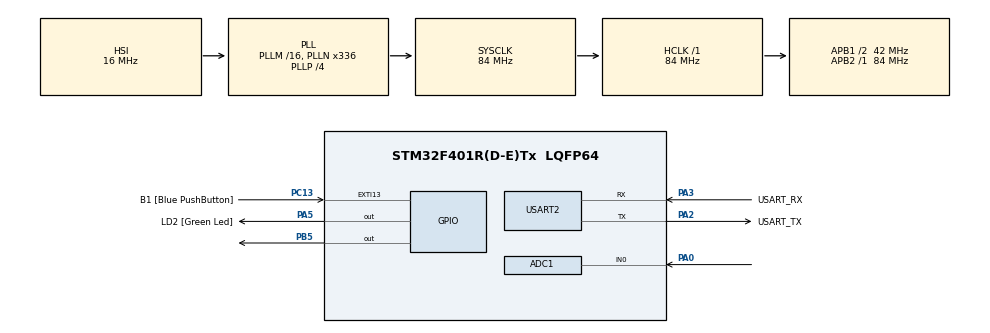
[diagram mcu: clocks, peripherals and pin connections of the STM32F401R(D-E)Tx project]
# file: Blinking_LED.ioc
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ADC1.Channel-0\#ChannelRegularConversion=ADC_CHANNEL_0
ADC1.ContinuousConvMode=ENABLE
ADC1.NbrOfConversionFlag=1
ADC1.Rank-0\#ChannelRegularConversion=1
ADC1.SamplingTime-0\#ChannelRegularConversion=ADC_SAMPLETIME_3CYCLES
ADC1.master=1
Mcu.Family=STM32F4
Mcu.Name=STM32F401R(D-E)Tx
Mcu.Package=LQFP64
NVIC.PriorityGroup=NVIC_PRIORITYGROUP_4
PA0-WKUP.Signal=ADCx_IN0
PA13.GPIO_Label=TMS
PA13.Mode=Trace_Asynchronous_SW
PA13.Signal=SYS_JTMS-SWDIO
PA14.GPIO_Label=TCK
PA14.Mode=Trace_Asynchronous_SW
PA14.Signal=SYS_JTCK-SWCLK
PA2.GPIO_Label=USART_TX
PA2.GPIO_Mode=GPIO_MODE_AF_PP
PA2.GPIO_PuPd=GPIO_NOPULL
PA2.GPIO_Speed=GPIO_SPEED_FREQ_LOW
PA2.Mode=Asynchronous
PA2.Signal=USART2_TX
PA3.GPIO_Label=USART_RX
PA3.GPIO_Mode=GPIO_MODE_AF_PP
PA3.GPIO_PuPd=GPIO_NOPULL
PA3.GPIO_Speed=GPIO_SPEED_FREQ_LOW
PA3.Mode=Asynchronous
PA3.Signal=USART2_RX
PA5.GPIO_Label=LD2 [Green Led]
PA5.GPIO_Mode=GPIO_MODE_OUTPUT_PP
PA5.GPIO_PuPd=GPIO_NOPULL
PA5.GPIO_Speed=GPIO_SPEED_FREQ_LOW
PA5.Signal=GPIO_Output
PB3.GPIO_Label=SWO
PB3.Mode=Trace_Asynchronous_SW
PB3.Signal=SYS_JTDO-SWO
PB5.Signal=GPIO_Output
PC13-ANTI_TAMP.GPIO_Label=B1 [Blue PushButton]
PC13-ANTI_TAMP.GPIO_ModeDefaultEXTI=GPIO_MODE_IT_FALLING
PC13-ANTI_TAMP.GPIO_PuPd=GPIO_NOPULL
PC13-ANTI_TAMP.Signal=GPXTI13
PC14-OSC32_IN.Mode=LSE-External-Oscillator
PC14-OSC32_IN.Signal=RCC_OSC32_IN
PC15-OSC32_OUT.Mode=LSE-External-Oscillator
PC15-OSC32_OUT.Signal=RCC_OSC32_OUT
PH0\ -\ OSC_IN.Mode=HSE-External-Clock-Source
PH0\ -\ OSC_IN.Signal=RCC_OSC_IN
PH1\ -\ OSC_OUT.Mode=HSE-External-Clock-Source
PH1\ -\ OSC_OUT.Signal=RCC_OSC_OUT
ProjectManager.HeapSize=0x200
ProjectManager.StackSize=0x400
ProjectManager.TargetToolchain=STM32CubeIDE
RCC.48MHZClocksFreq_Value=48000000
RCC.AHBFreq_Value=84000000
RCC.APB1CLKDivider=RCC_HCLK_DIV2
RCC.APB1Freq_Value=42000000
RCC.APB1TimFreq_Value=84000000
RCC.APB2Freq_Value=84000000
RCC.APB2TimFreq_Value=84000000
RCC.CortexFreq_Value=84000000
RCC.HCLKFreq_Value=84000000
RCC.HSE_VALUE=8000000
RCC.HSI_VALUE=16000000
RCC.PLLN=336
RCC.PLLP=RCC_PLLP_DIV4
RCC.PLLQ=7
RCC.SYSCLKFreq_VALUE=84000000
RCC.SYSCLKSource=RCC_SYSCLKSOURCE_PLLCLK
RCC.VCOOutputFreq_Value=336000000
SH.ADCx_IN0.0=ADC1_IN0,IN0
USART2.VirtualMode=VM_ASYNC
board=NUCLEO-F401RE

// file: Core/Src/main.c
/* USER CODE BEGIN Header */
/**
  ******************************************************************************
  * @file           : main.c
  * @brief          : Main program body
  ******************************************************************************
  * @attention
  *
  * Copyright (c) 2026 STMicroelectronics.
  * All rights reserved.
  *
  * This software is licensed under terms that can be found in the LICENSE file
  * in the root directory of this software component.
  * If no LICENSE file comes with this software, it is provided AS-IS.
  *
  ******************************************************************************
  */
/* USER CODE END Header */
#include "main.h"

/* USER CODE BEGIN Includes */
#include"stdio.h"
#include"string.h"

/* USER CODE END Includes */

ADC_HandleTypeDef hadc1;

UART_HandleTypeDef huart2;

/* USER CODE BEGIN PV */
char msg[100];
uint8_t rx_data;
uint32_t adc_value;
uint32_t voltage;

/* USER CODE END PV */

void SystemClock_Config(void);
static void MX_GPIO_Init(void);
static void MX_USART2_UART_Init(void);
static void MX_ADC1_Init(void);

/* USER CODE BEGIN 0 */
void LED_ON(void){

	if(HAL_UART_Receive(&huart2,&rx_data,1,100)==HAL_OK){
		if(rx_data == 'A'){
			HAL_GPIO_TogglePin(GPIOB,GPIO_PIN_5);
			if(HAL_GPIO_ReadPin(GPIOB,GPIO_PIN_5)== GPIO_PIN_SET){
				sprintf(msg, " LED is ON \r\n");
				HAL_UART_Transmit(&huart2,(uint8_t*)msg,strlen(msg),HAL_MAX_DELAY);
			}
			else{
				sprintf(msg, " LED is OFF \r\n");
				HAL_UART_Transmit(&huart2,(uint8_t*)msg,strlen(msg),HAL_MAX_DELAY);

			}
		}

	}
}
void UART_GPIO_CONTROLLER(void){
	if(HAL_UART_Receive(&huart2,&rx_data,1,100)==HAL_OK){
		if(rx_data == 'A'){
			HAL_GPIO_TogglePin(GPIOB,GPIO_PIN_5);
			sprintf(msg, "LED is Toggled \r\n");
			HAL_UART_Transmit(&huart2,(uint8_t*)msg, strlen(msg), HAL_MAX_DELAY);
		}
		else if(rx_data == '1'){
				HAL_GPIO_WritePin(GPIOB,GPIO_PIN_5,GPIO_PIN_SET);
				sprintf(msg, "LED is Forced On \r\n");
				HAL_UART_Transmit(&huart2,(uint8_t*)msg, strlen(msg), HAL_MAX_DELAY);

		}
		else if(rx_data == '0'){
			HAL_GPIO_WritePin(GPIOB,GPIO_PIN_5,GPIO_PIN_RESET);
			sprintf(msg, "LED is Forced OFF \r\n");
			HAL_UART_Transmit(&huart2,(uint8_t*)msg, strlen(msg), HAL_MAX_DELAY);

		}
		else if(rx_data == 'S'){
			if(HAL_GPIO_ReadPin(GPIOB,GPIO_PIN_5) == GPIO_PIN_SET){
				sprintf(msg,"LED Status : ON \r\n");
			}
			else{
				sprintf(msg,"LED Status : OFF \r\n");
			}
			HAL_UART_Transmit(&huart2,(uint8_t*)msg, strlen(msg), HAL_MAX_DELAY);

		}
		else{
			sprintf(msg, "Unknown Command = %c  \r\n", rx_data);
			HAL_UART_Transmit(&huart2,(uint8_t*)msg, strlen(msg), HAL_MAX_DELAY);

		}

	}
}
void ADC_UART_MONITOR(void){
	if(HAL_ADC_PollForConversion(&hadc1,HAL_MAX_DELAY)==HAL_OK){
		adc_value = HAL_ADC_GetValue(&hadc1);
		voltage = (adc_value * 3300)/4095;
		sprintf(msg, "ADC VALUE: %lu, Voltage : %lu mV \r\n",adc_value,voltage);
		HAL_UART_Transmit(&huart2,(uint8_t*)msg,strlen(msg),HAL_MAX_DELAY);

	}
	HAL_ADC_Stop(&hadc1);

}
/* USER CODE END 0 */

int main(void)
{

  /* MCU Configuration--------------------------------------------------------*/

  /* Reset of all peripherals, Initializes the Flash interface and the Systick. */
  HAL_Init();

  /* Configure the system clock */
  SystemClock_Config();

  /* Initialize all configured peripherals */
  MX_GPIO_Init();
  MX_USART2_UART_Init();
  MX_ADC1_Init();
  /* USER CODE BEGIN 2 */
  HAL_ADC_Start(&hadc1);

  /* USER CODE END 2 */

  /* Infinite loop */
  while (1)
  {
	  ADC_UART_MONITOR();
	  HAL_Delay(500);

  }
}

void SystemClock_Config(void)
{
  RCC_OscInitTypeDef RCC_OscInitStruct = {0};
  RCC_ClkInitTypeDef RCC_ClkInitStruct = {0};

  /** Configure the main internal regulator output voltage
  */
  __HAL_RCC_PWR_CLK_ENABLE();
  __HAL_PWR_VOLTAGESCALING_CONFIG(PWR_REGULATOR_VOLTAGE_SCALE2);

  /** Initializes the RCC Oscillators according to the specified parameters
  * in the RCC_OscInitTypeDef structure.
  */
  RCC_OscInitStruct.OscillatorType = RCC_OSCILLATORTYPE_HSI;
  RCC_OscInitStruct.HSIState = RCC_HSI_ON;
  RCC_OscInitStruct.HSICalibrationValue = RCC_HSICALIBRATION_DEFAULT;
  RCC_OscInitStruct.PLL.PLLState = RCC_PLL_ON;
  RCC_OscInitStruct.PLL.PLLSource = RCC_PLLSOURCE_HSI;
  RCC_OscInitStruct.PLL.PLLM = 16;
  RCC_OscInitStruct.PLL.PLLN = 336;
  RCC_OscInitStruct.PLL.PLLP = RCC_PLLP_DIV4;
  RCC_OscInitStruct.PLL.PLLQ = 7;
  if (HAL_RCC_OscConfig(&RCC_OscInitStruct) != HAL_OK)
  {
    Error_Handler();
  }

  /** Initializes the CPU, AHB and APB buses clocks
  */
  RCC_ClkInitStruct.ClockType = RCC_CLOCKTYPE_HCLK|RCC_CLOCKTYPE_SYSCLK
                              |RCC_CLOCKTYPE_PCLK1|RCC_CLOCKTYPE_PCLK2;
  RCC_ClkInitStruct.SYSCLKSource = RCC_SYSCLKSOURCE_PLLCLK;
  RCC_ClkInitStruct.AHBCLKDivider = RCC_SYSCLK_DIV1;
  RCC_ClkInitStruct.APB1CLKDivider = RCC_HCLK_DIV2;
  RCC_ClkInitStruct.APB2CLKDivider = RCC_HCLK_DIV1;

  if (HAL_RCC_ClockConfig(&RCC_ClkInitStruct, FLASH_LATENCY_2) != HAL_OK)
  {
    Error_Handler();
  }
}

static void MX_ADC1_Init(void)
{

  ADC_ChannelConfTypeDef sConfig = {0};

  /** Configure the global features of the ADC (Clock, Resolution, Data Alignment and number of conversion)
  */
  hadc1.Instance = ADC1;
  hadc1.Init.ClockPrescaler = ADC_CLOCK_SYNC_PCLK_DIV4;
  hadc1.Init.Resolution = ADC_RESOLUTION_12B;
  hadc1.Init.ScanConvMode = DISABLE;
  hadc1.Init.ContinuousConvMode = ENABLE;
  hadc1.Init.DiscontinuousConvMode = DISABLE;
  hadc1.Init.ExternalTrigConvEdge = ADC_EXTERNALTRIGCONVEDGE_NONE;
  hadc1.Init.ExternalTrigConv = ADC_SOFTWARE_START;
  hadc1.Init.DataAlign = ADC_DATAALIGN_RIGHT;
  hadc1.Init.NbrOfConversion = 1;
  hadc1.Init.DMAContinuousRequests = DISABLE;
  hadc1.Init.EOCSelection = ADC_EOC_SINGLE_CONV;
  if (HAL_ADC_Init(&hadc1) != HAL_OK)
  {
    Error_Handler();
  }

  /** Configure for the selected ADC regular channel its corresponding rank in the sequencer and its sample time.
  */
  sConfig.Channel = ADC_CHANNEL_0;
  sConfig.Rank = 1;
  sConfig.SamplingTime = ADC_SAMPLETIME_3CYCLES;
  if (HAL_ADC_ConfigChannel(&hadc1, &sConfig) != HAL_OK)
  {
    Error_Handler();
  }

}

static void MX_USART2_UART_Init(void)
{

  huart2.Instance = USART2;
  huart2.Init.BaudRate = 115200;
  huart2.Init.WordLength = UART_WORDLENGTH_8B;
  huart2.Init.StopBits = UART_STOPBITS_1;
  huart2.Init.Parity = UART_PARITY_NONE;
  huart2.Init.Mode = UART_MODE_TX_RX;
  huart2.Init.HwFlowCtl = UART_HWCONTROL_NONE;
  huart2.Init.OverSampling = UART_OVERSAMPLING_16;
  if (HAL_UART_Init(&huart2) != HAL_OK)
  {
    Error_Handler();
  }

}

static void MX_GPIO_Init(void)
{
  GPIO_InitTypeDef GPIO_InitStruct = {0};

  /* GPIO Ports Clock Enable */
  __HAL_RCC_GPIOC_CLK_ENABLE();
  __HAL_RCC_GPIOH_CLK_ENABLE();
  __HAL_RCC_GPIOA_CLK_ENABLE();
  __HAL_RCC_GPIOB_CLK_ENABLE();

  /*Configure GPIO pin Output Level */
  HAL_GPIO_WritePin(LD2_GPIO_Port, LD2_Pin, GPIO_PIN_RESET);

  /*Configure GPIO pin Output Level */
  HAL_GPIO_WritePin(GPIOB, GPIO_PIN_5, GPIO_PIN_RESET);

  /*Configure GPIO pin : B1_Pin */
  GPIO_InitStruct.Pin = B1_Pin;
  GPIO_InitStruct.Mode = GPIO_MODE_IT_FALLING;
  GPIO_InitStruct.Pull = GPIO_NOPULL;
  HAL_GPIO_Init(B1_GPIO_Port, &GPIO_InitStruct);

  /*Configure GPIO pin : LD2_Pin */
  GPIO_InitStruct.Pin = LD2_Pin;
  GPIO_InitStruct.Mode = GPIO_MODE_OUTPUT_PP;
  GPIO_InitStruct.Pull = GPIO_NOPULL;
  GPIO_InitStruct.Speed = GPIO_SPEED_FREQ_LOW;
  HAL_GPIO_Init(LD2_GPIO_Port, &GPIO_InitStruct);

  /*Configure GPIO pin : PB5 */
  GPIO_InitStruct.Pin = GPIO_PIN_5;
  GPIO_InitStruct.Mode = GPIO_MODE_OUTPUT_PP;
  GPIO_InitStruct.Pull = GPIO_NOPULL;
  GPIO_InitStruct.Speed = GPIO_SPEED_FREQ_LOW;
  HAL_GPIO_Init(GPIOB, &GPIO_InitStruct);

}

void Error_Handler(void)
{
  __disable_irq();
  while (1)
  {
  }
}
